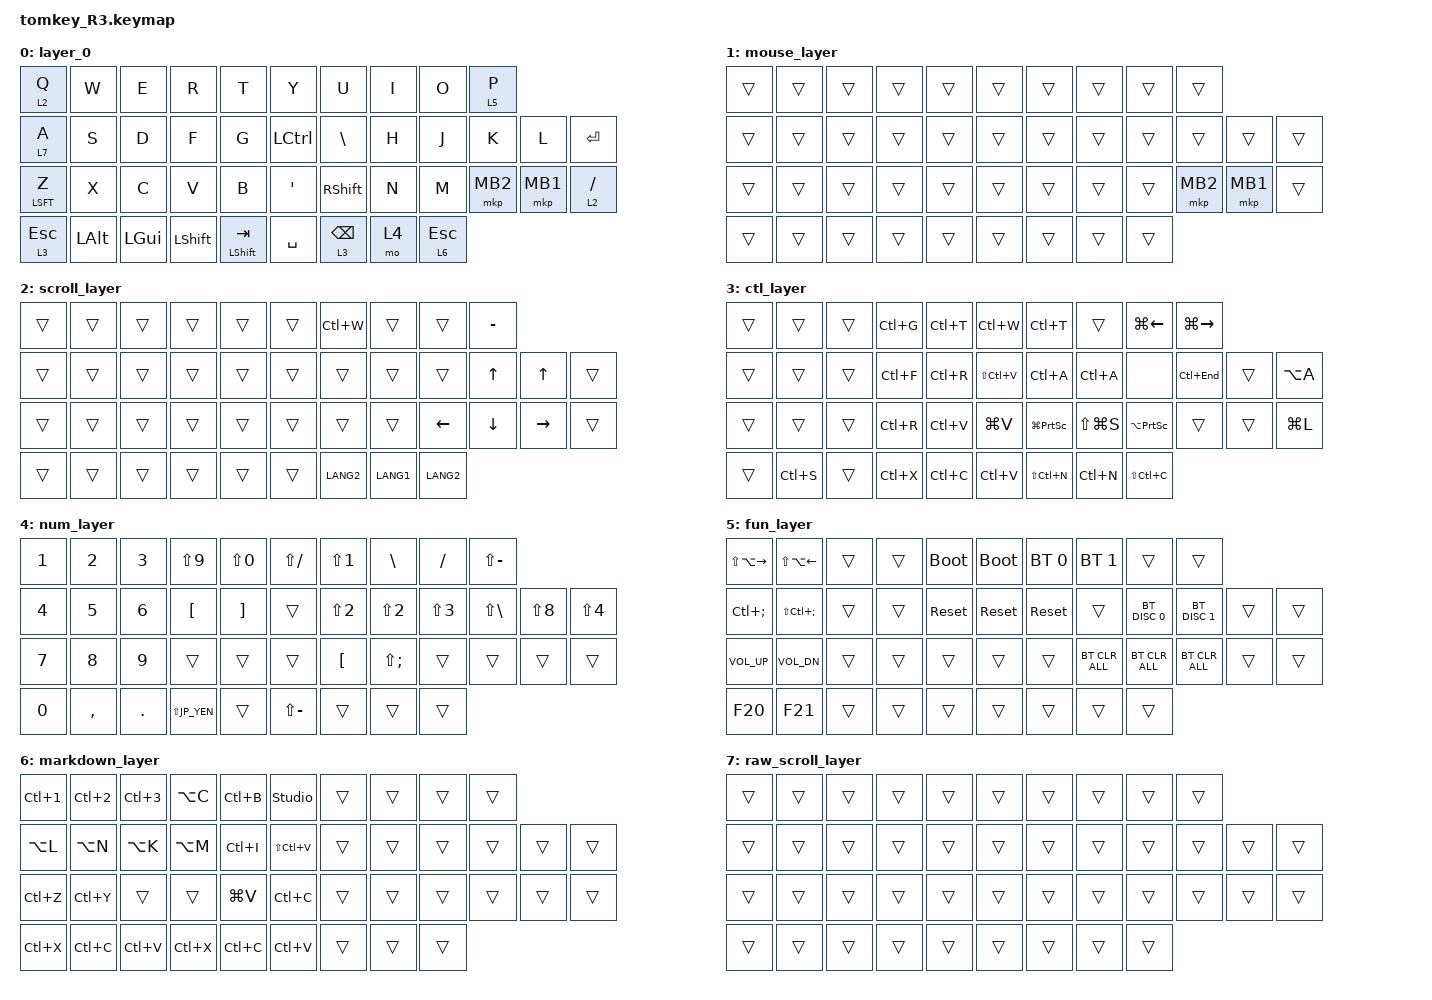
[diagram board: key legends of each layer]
#include <behaviors.dtsi>
#include <dt-bindings/zmk/bt.h>
#include <dt-bindings/zmk/keys.h>
#include <dt-bindings/zmk/pointing.h>
#include <dt-bindings/zmk/input_transform.h>
#include <input/processors.dtsi>
#include <input/processors/runtime-input-processor.dtsi>

// OS設定を日本語キーボードのまま使用するための変換定義
#define JP_DQUOTE AT               // "
#define JP_AMPERSAND CARET         // &
#define JP_QUOTE AMPERSAND         // '
#define JP_EQUAL UNDER             // =
#define JP_CARET EQUAL             // ^
#define JP_YEN 0x89                // ¥
#define JP_PLUS COLON              // +
#define JP_TILDE PLUS              // ~
#define JP_PIPE LS(0x89)           // |
#define JP_AT LEFT_BRACKET         // @
#define JP_COLON SINGLE_QUOTE      // :
#define JP_ASTERISK DOUBLE_QUOTES  // *
#define JP_BACKQUOTE LEFT_BRACE    // `
#define JP_UNDERSCORE LS(0x87)     // _
#define JP_LBRACKET RIGHT_BRACKET  // [
#define JP_RBRACKET BACKSLASH      // ]
#define JP_LPAREN ASTERISK         // (
#define JP_RPAREN LEFT_PARENTHESIS // )
#define JP_LBRACE RIGHT_BRACE      // {
#define JP_RBRACE PIPE             // }
#define JP_KANA LANG1              // かな
#define JP_EISU LANG2              // 英数
#define JP_HANZEN GRAVE           // 半角/全角

&mt {
    quick-tap-ms = <300>;
};

&lt {
    quick-tap-ms = <300>;
};

/ {
    combos {
        compatible = "zmk,combos";

        combo_mb3 {
            timeout-ms = <50>;
            key-positions = <31 32>;
            bindings = <&mkp MB3>;
        };

        combo_vscroll {
            /* K + L 同時押し → 縦スクロール専用レイヤー */
            timeout-ms = <50>;
            key-positions = <19 20>;
            bindings = <&mo 7>;
            layers = <0 1>;
        };
    };

    behaviors {
        aml: aml {
            compatible = "zmk,behavior-aml";
            #binding-cells = <0>;
            layers = <1>;       // 初期レイヤー: MOUSE
            timeout-ms = <1000>;
        };
    };

    keymap {
        compatible = "zmk,keymap";

        // Snapshot of the DYA Studio runtime keymap captured on 2026-09-11.

        layer_0 {
            bindings = <
&lt 2 Q       &kp W         &kp E             &kp R           &kp T           &kp Y       &kp U     &kp I      &kp O     &lt 5 P
&lt 7 A       &kp S         &kp D             &kp F           &kp G           &kp LCTRL    &kp BACKSLASH &kp H  &kp J     &kp K      &kp L     &kp ENTER
&mt LSFT Z    &kp X         &kp C             &kp V           &kp B           &kp SINGLE_QUOTE &kp RIGHT_SHIFT &kp N &kp M &mkp MB2 &mkp MB1 &lt 2 SLASH
&lt 3 ESCAPE  &kp LEFT_ALT  &kp LEFT_GUI      &kp LEFT_SHIFT  &mt LEFT_SHIFT TAB &kp SPACE &lt 3 BACKSPACE &mo 4 &lt 6 ESCAPE
            >;
        };

        mouse_layer {
            bindings = <
&trans         &trans         &trans            &trans          &trans                                               &trans           &trans    &trans    &trans    &trans
&trans         &trans         &trans            &trans          &trans          &trans            &trans             &trans           &trans    &trans    &trans    &trans
&trans         &trans         &trans            &trans          &trans          &trans            &trans             &trans           &trans    &mkp MB2  &mkp MB1  &trans
&trans         &trans         &trans            &trans          &trans          &trans            &trans             &trans                                         &trans
            >;
        };

        scroll_layer {
            bindings = <
&trans &trans &trans &trans &trans &trans &kp LC(W) &trans &trans &kp MINUS
&trans &trans &trans &trans &trans &trans &trans &trans &trans &kp UP &kp UP &trans
&trans &trans &trans &trans &trans &trans &trans &trans &kp LEFT &kp DOWN &kp RIGHT &trans
&trans &trans &trans &trans &trans &trans &kp JP_EISU &kp JP_KANA &kp JP_EISU
            >;
        };

        ctl_layer {
            bindings = <
&trans &trans &trans &kp LC(G) &kp LC(T) &kp LC(W) &kp LC(T) &trans &kp LG(LEFT) &kp LG(RIGHT)
&trans &trans &trans &kp LC(F) &kp LC(R) &kp LS(LC(V)) &kp LC(A) &kp LC(A) &none &kp LC(END) &trans &kp LA(A)
&trans &trans &trans &kp LC(R) &kp LC(V) &kp LG(V) &kp LG(PRINTSCREEN) &kp LS(LG(S)) &kp LA(PRINTSCREEN) &trans &trans &kp LG(L)
&trans &kp LC(S) &trans &kp LC(X) &kp LC(C) &kp LC(V) &kp LS(LC(N)) &kp LC(N) &kp LS(LC(C))
            >;
        };

        num_layer {
            bindings = <
&kp NUMBER_1 &kp NUMBER_2 &kp NUMBER_3 &kp LS(NUMBER_9) &kp LS(NUMBER_0) &kp LS(SLASH) &kp LS(NUMBER_1) &kp BACKSLASH &kp SLASH &kp LS(MINUS)
&kp NUMBER_4 &kp NUMBER_5 &kp NUMBER_6 &kp LEFT_BRACKET &kp RIGHT_BRACKET &trans &kp LS(NUMBER_2) &kp LS(NUMBER_2) &kp LS(NUMBER_3) &kp LS(BACKSLASH) &kp LS(NUMBER_8) &kp LS(NUMBER_4)
&kp NUMBER_7 &kp NUMBER_8 &kp NUMBER_9 &trans &trans &trans &kp LEFT_BRACKET &kp LS(SEMICOLON) &trans &trans &trans &trans
&kp NUMBER_0 &kp COMMA &kp DOT &kp LS(JP_YEN) &trans &kp LS(MINUS) &trans &trans &trans
            >;
        };

        fun_layer {
            bindings = <
&kp LS(LA(RIGHT)) &kp LS(LA(LEFT)) &trans &trans &bootloader &bootloader &bt BT_SEL 0 &bt BT_SEL 1 &trans &trans
&kp LC(SEMICOLON) &kp LS(LC(SEMICOLON)) &trans &trans &sys_reset &sys_reset &sys_reset &trans &bt BT_DISC 0 &bt BT_DISC 1 &trans &trans
&kp C_VOL_UP &kp C_VOL_DN &trans &trans &trans &trans &trans &bt BT_CLR_ALL &bt BT_CLR_ALL &bt BT_CLR_ALL &trans &trans
&kp F20 &kp F21 &trans &trans &trans &trans &trans &trans &trans
            >;
        };

        markdown_layer {
            bindings = <
&kp LC(NUMBER_1) &kp LC(NUMBER_2) &kp LC(NUMBER_3) &kp LA(C) &kp LC(B) &studio_unlock &trans &trans &trans &trans
&kp LA(L) &kp LA(N) &kp LA(K) &kp LA(M) &kp LC(I) &kp LS(LC(V)) &trans &trans &trans &trans &trans &trans
&kp LC(Z) &kp LC(Y) &trans &trans &kp LG(V) &kp LC(C) &trans &trans &trans &trans &trans &trans
&kp LC(X) &kp LC(C) &kp LC(V) &kp LC(X) &kp LC(C) &kp LC(V) &trans &trans &trans
            >;
        };

        raw_scroll_layer {
            bindings = <
&trans  &trans  &trans  &trans  &trans                      &trans  &trans  &trans  &trans  &trans
&trans  &trans  &trans  &trans  &trans  &trans      &trans  &trans  &trans  &trans  &trans  &trans
&trans  &trans  &trans  &trans  &trans  &trans      &trans  &trans  &trans  &trans  &trans  &trans
&trans  &trans  &trans  &trans  &trans  &trans      &trans  &trans                          &trans
            >;
        };
    };
};
